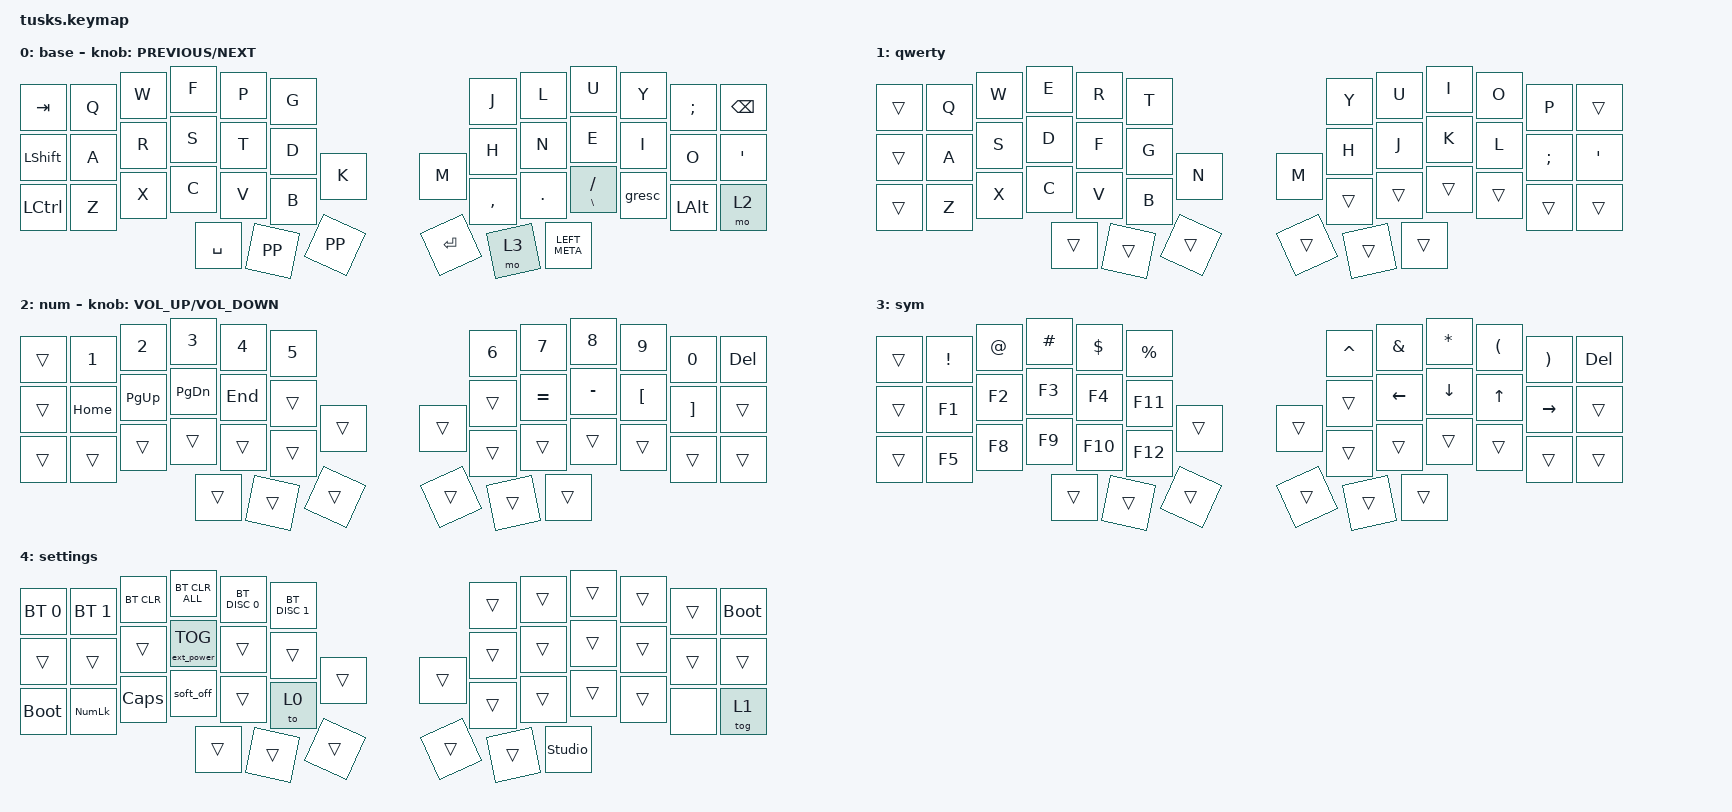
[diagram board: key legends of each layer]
#include <behaviors.dtsi>
#include <dt-bindings/zmk/bt.h>
#include <dt-bindings/zmk/ext_power.h>
#include <dt-bindings/zmk/keys.h>

#define DEFAULT 0
#define LWR   1
#define RAI   2
#define SET   3

/ {
	combos {
		compatible = "zmk,combos";
		combo_studio_unlock {
			timeout-ms = <50>;
			key-positions = <0 1>;
			bindings = <&studio_unlock>;
		};
	};
};
/ {
	behaviors {
		sm: space_mod {
			compatible = "zmk,behavior-hold-tap";
			#binding-cells = <2>;
			flavor = "tap-preferred";
			tapping-term-ms = <175>;
			quick-tap-ms = <100>;
			bindings = <&kp>, <&kp>;
		};
		
		cz: cz {
			compatible = "zmk,behavior-hold-tap";
			#binding-cells = <2>;
			flavor = "tap-preferred";
			tapping-term-ms = <350>;
			bindings = <&kp>, <&kp>;
			
			quick-tap-ms = <175>;
		};
	};
	
	keymap {
		compatible = "zmk,keymap";
		
		base {
			bindings = <
			&kp TAB    &kp Q  &kp W  &kp F  &kp P  &kp G                    			&kp J      &kp L  &kp U          &kp Y    &kp SEMI             &kp BSPC
			&kp LSHFT  &kp A  &kp R  &kp S  &kp T  &kp D                   			    &kp H      &kp N  &kp E          &kp I    &kp O                &kp SQT
			&kp LCTRL  &kp Z  &kp X  &kp C  &kp V  &kp B                   	 			&kp K      &kp M  &kp COMMA      &kp DOT  &mt BACKSLASH SLASH  &gresc
							      &kp LALT  &mo 2  &kp SPACE  &kp K_PP	 	&kp K_PP 	&kp ENTER  &mo 3  &kp LEFT_META
			>;
			
			sensor-bindings = <&inc_dec_kp C_PREVIOUS C_NEXT>;
			display-name = "base";
		};
		
		qwerty {
			bindings = <
			&trans  &kp Q  &kp W   &kp E   &kp R   &kp T           &kp Y   &kp U   &kp I   &kp O   &kp P     &trans
			&trans  &kp A  &kp S   &kp D   &kp F   &kp G           &kp H   &kp J   &kp K   &kp L   &kp SEMI  &kp SQT
			&trans  &kp Z  &kp X   &kp C   &kp V   &kp B           &kp N   &kp M   &trans  &trans  &trans    &trans
			&trans  &trans  &trans  &trans  &trans  &trans  &trans  &trans
			>;
		};
		
		num {
			bindings = <
			&trans  &kp N1    &kp N2     &kp N3     &kp N4   &kp N5          &kp N6  &kp N7     &kp N8     &kp N9    &kp N0    &kp DEL
			&trans  &kp HOME  &kp PG_UP  &kp PG_DN  &kp END  &trans          &trans  &kp EQUAL  &kp MINUS  &kp LBKT  &kp RBKT  &trans
			&trans  &trans    &trans     &trans     &trans   &trans          &trans  &trans     &trans     &trans    &trans    &trans
			&trans     &trans     &trans   &trans  &trans  &trans  &trans     &trans
			>;
			
			sensor-bindings = <&inc_dec_kp C_VOLUME_UP C_VOLUME_DOWN>;
		};
		
		sym {
			bindings = <
			&trans  &kp EXCL  &kp AT  &kp HASH  &kp DOLLAR  &kp PERCENT          &kp CARET  &kp AMPS  &kp STAR        &kp LEFT_PARENTHESIS  &kp RIGHT_PARENTHESIS  &kp DELETE
			&trans  &kp F1    &kp F2  &kp F3    &kp F4      &kp F11              &trans     &kp LEFT  &kp DOWN_ARROW  &kp UP                &kp RIGHT              &trans
			&trans  &kp F5    &kp F8  &kp F9    &kp F10     &kp F12              &trans     &trans    &trans          &trans                &trans                 &trans
			&trans  &trans    &trans      &trans       &trans  &trans     &trans    &trans
			>;
		};
		
		settings {
			bindings = <
			&bt BT_SEL 0  &bt BT_SEL 1    &bt BT_CLR  &bt BT_CLR_ALL     &bt BT_DISC 0  &bt BT_DISC 1          &trans  &trans  &trans  &trans  &trans  &bootloader
			&trans        &trans          &trans      &ext_power EP_TOG  &trans         &trans                 &trans  &trans  &trans  &trans  &trans  &trans
			&bootloader   &kp KP_NUMLOCK  &kp CAPS    &soft_off          &trans         &to 0                  &trans  &trans  &trans  &trans  &trans  &trans
			&none       &tog 1             &trans         &trans         &trans  &trans  &trans  &studio_unlock
			>;
		};
	};
};
